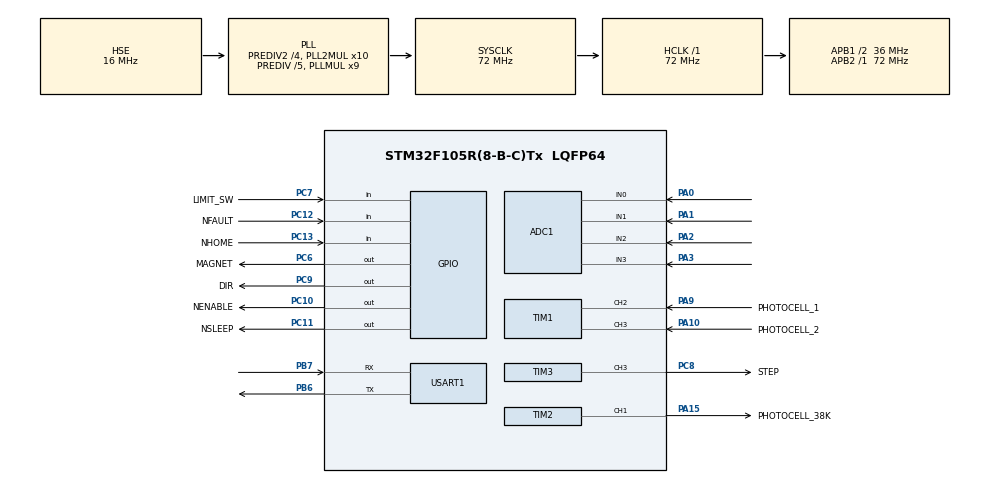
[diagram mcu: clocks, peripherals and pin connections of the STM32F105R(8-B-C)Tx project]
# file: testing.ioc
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ADC1.Channel-0\#ChannelRegularConversion=ADC_CHANNEL_0
ADC1.NbrOfConversionFlag=1
ADC1.Rank-0\#ChannelRegularConversion=1
ADC1.SamplingTime-0\#ChannelRegularConversion=ADC_SAMPLETIME_1CYCLE_5
ADC1.master=1
Mcu.Family=STM32F1
Mcu.Name=STM32F105R(8-B-C)Tx
Mcu.Package=LQFP64
NVIC.PriorityGroup=NVIC_PRIORITYGROUP_4
NVIC.USART1_IRQn=true\:0\:0\:false\:false\:true\:true\:true\:true
PA0-WKUP.Signal=ADCx_IN0
PA1.Signal=ADCx_IN1
PA10.GPIO_Label=PHOTOCELL_2
PA10.Signal=S_TIM1_CH3
PA13.Mode=Serial_Wire
PA13.Signal=SYS_JTMS-SWDIO
PA14.Mode=Serial_Wire
PA14.Signal=SYS_JTCK-SWCLK
PA15.GPIO_Label=PHOTOCELL_38K
PA15.Signal=S_TIM2_CH1_ETR
PA2.Signal=ADCx_IN2
PA3.Signal=ADCx_IN3
PA9.GPIO_Label=PHOTOCELL_1
PA9.Signal=S_TIM1_CH2
PB6.Mode=Asynchronous
PB6.Signal=USART1_TX
PB7.Mode=Asynchronous
PB7.Signal=USART1_RX
PC10.GPIO_Label=NENABLE
PC10.Signal=GPIO_Output
PC11.GPIO_Label=NSLEEP
PC11.Signal=GPIO_Output
PC12.GPIO_Label=NFAULT
PC12.Signal=GPIO_Input
PC13-TAMPER-RTC.GPIO_Label=NHOME
PC13-TAMPER-RTC.Signal=GPIO_Input
PC6.GPIO_Label=MAGNET
PC6.Signal=GPIO_Output
PC7.GPIO_Label=LIMIT_SW
PC7.Signal=GPIO_Input
PC8.GPIO_Label=STEP
PC8.Signal=S_TIM3_CH3
PC9.GPIO_Label=DIR
PC9.Signal=GPIO_Output
PD0-OSC_IN.Mode=HSE-External-Clock-Source
PD0-OSC_IN.Signal=RCC_OSC_IN
PD1-OSC_OUT.Mode=HSE-External-Clock-Source
PD1-OSC_OUT.Signal=RCC_OSC_OUT
ProjectManager.HeapSize=0x200
ProjectManager.StackSize=0x400
ProjectManager.TargetToolchain=STM32CubeIDE
RCC.ADCPresc=RCC_ADCPCLK2_DIV6
RCC.AHBFreq_Value=72000000
RCC.APB1CLKDivider=RCC_HCLK_DIV2
RCC.APB1Freq_Value=36000000
RCC.APB1TimFreq_Value=72000000
RCC.APB2Freq_Value=72000000
RCC.APB2TimFreq_Value=72000000
RCC.HCLKFreq_Value=72000000
RCC.HSEDivPLL=RCC_HSE_PREDIV_DIV5
RCC.HSE_VALUE=16000000
RCC.PLL2Mul=RCC_PLL2_MUL10
RCC.PLLMUL=RCC_PLL_MUL9
RCC.PLLSourceVirtual=RCC_PLLSOURCE_HSE
RCC.Prediv1Source=RCC_PREDIV1_SOURCE_PLL2
RCC.Prediv2=RCC_HSE_PREDIV2_DIV4
RCC.SYSCLKFreq_VALUE=72000000
RCC.SYSCLKSource=RCC_SYSCLKSOURCE_PLLCLK
RCC.USBFreq_Value=48000000
SH.ADCx_IN0.0=ADC1_IN0,IN0
SH.ADCx_IN1.0=ADC1_IN1,IN1
SH.ADCx_IN2.0=ADC1_IN2,IN2
SH.ADCx_IN3.0=ADC1_IN3,IN3
SH.S_TIM1_CH2.0=TIM1_CH2,Input_Capture2_from_TI2
SH.S_TIM1_CH3.0=TIM1_CH3,Input_Capture3_from_TI3
SH.S_TIM2_CH1_ETR.0=TIM2_CH1,PWM Generation1 CH1
SH.S_TIM3_CH3.0=TIM3_CH3,PWM Generation3 CH3
TIM1.Channel-Input_Capture2_from_TI2=TIM_CHANNEL_2
TIM1.Channel-Input_Capture3_from_TI3=TIM_CHANNEL_3
TIM2.Channel-PWM\ Generation1\ CH1=TIM_CHANNEL_1
TIM3.AutoReloadPreload=TIM_AUTORELOAD_PRELOAD_ENABLE
TIM3.Channel-PWM\ Generation3\ CH3=TIM_CHANNEL_3
TIM3.Period=249
TIM3.Prescaler=3599
TIM3.Pulse-PWM\ Generation3\ CH3=72
USART1.VirtualMode=VM_ASYNC
VP_TIM1_VS_ClockSourceINT.Mode=Internal
VP_TIM2_VS_ClockSourceINT.Mode=Internal
VP_TIM3_VS_ClockSourceINT.Mode=Internal
board=custom

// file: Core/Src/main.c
/* USER CODE BEGIN Header */
/**
  ******************************************************************************
  * @file           : main.c
  * @brief          : Main program body
  ******************************************************************************
  * @attention
  *
  * Copyright (c) 2025 STMicroelectronics.
  * All rights reserved.
  *
  * This software is licensed under terms that can be found in the LICENSE file
  * in the root directory of this software component.
  * If no LICENSE file comes with this software, it is provided AS-IS.
  *
  ******************************************************************************
  */
/* USER CODE END Header */
#include "main.h"

/* USER CODE BEGIN Includes */

#include "stdint.h"
#include <stdbool.h>

/* USER CODE END Includes */

/* USER CODE BEGIN PTD */

typedef enum cmd_t
{
  cmdToRaise = 1,
  cmdToDrop = 2,
  cmdRaised = 3,
  cmdDropped = 4
} cmd_t;

/* USER CODE END PTD */

/* USER CODE BEGIN PD */
#define RX_BUFFER_SIZE 100 // Size of the reception buffer
/* USER CODE END PD */

ADC_HandleTypeDef hadc1;

TIM_HandleTypeDef htim1;
TIM_HandleTypeDef htim2;
TIM_HandleTypeDef htim3;

UART_HandleTypeDef huart1;

void SystemClock_Config(void);
static void MX_GPIO_Init(void);
static void MX_ADC1_Init(void);
static void MX_TIM1_Init(void);
static void MX_TIM2_Init(void);
static void MX_TIM3_Init(void);
static void MX_USART1_UART_Init(void);

/* USER CODE BEGIN 0 */
uint8_t rxBuffer[RX_BUFFER_SIZE]; // Buffer to store received data
uint8_t receivedByte;             // Variable to store a single received byte

//-----------------------------------------------------------------------------//

// Transmit data on UART
bool uartDataTx(uint8_t *data, uint16_t size)
{
  HAL_UART_Transmit(&huart1, data, size, HAL_MAX_DELAY);
  return true;
}

// Receive data on UART
bool uartDataRx(uint8_t *data, uint16_t size)
{
  HAL_UART_Receive(&huart1, data, size, HAL_MAX_DELAY);
  return true;
}

//-----------------------------------------------------------------------------//

uint16_t calcDelay(uint16_t height)
{
  // TODO: Get time amount of stepper with given height, input here for proper calculation of delay
  return height * 2;
}

bool moveStepper(uint32_t direction)
{
  // Set the stepper direction
  HAL_GPIO_WritePin(DIR_GPIO_Port, DIR_Pin, direction);

  // Get time from serial
  uint16_t height;
  uartDataRx(&height, sizeof(height));

  // Calculate the time for the delay during raising platform
  uint16_t delay = calcDelay(height);

  // Turn on the PWM for the stepper (100 Hz)
  HAL_TIM_PWM_Start(&htim3, TIM_CHANNEL_3);

  // Time duration of the PWM (calculated using calcDelay())
  HAL_Delay(&delay);

  // Stop stepper
  HAL_TIM_PWM_Stop(&htim3, TIM_CHANNEL_3);
}

//-----------------------------------------------------------------------------//

void raise_fun()
{
  // Send response after getting request to raise platform
  uartDataTx((uint16_t*)cmdToRaise, sizeof(cmdToRaise));

  // Turn on electromagnet to catch the ball
  HAL_GPIO_WritePin(MAGNET_GPIO_Port, MAGNET_Pin, GPIO_PIN_SET);

  // Move stepper to desired height
  moveStepper(GPIO_PIN_RESET);

  // Send response after raising the platform
  uartDataTx((uint16_t*)cmdRaised, sizeof(cmdRaised));
}

void drop_fun()
{
  // Send response after getting request to drop the ball
  uartDataTx((uint16_t*)cmdToDrop, sizeof(cmdToDrop));

  // Start reading data from ADC DMA
//  uint32_t adcValue[1000];
//  HAL_ADC_Start_DMA(&hadc1, &adcValue, 1000);

  // Start capturing time
  uint32_t startTime = HAL_GetTick();

  // Release the electromagnet to drop the ball
  HAL_GPIO_WritePin(MAGNET_GPIO_Port, MAGNET_Pin, GPIO_PIN_RESET);
  HAL_Delay(2000);

  // Photocell
  // Send time difference from photocell

  // Stop capturing time and send time
  uint32_t endTime = HAL_GetTick();
  uint32_t timeDuration = endTime - startTime;
  uartDataTx((uint16_t*)timeDuration, sizeof(timeDuration));

  // Send the data from ADC
//  uartDataTx((uint16_t*)adcValue, sizeof(adcValue));
  //	HAL_UART_Transmit(&huart1, (uint8_t*)cmdToRaise, sizeof(uint16_t), HAL_MAX_DELAY);
  // Move stepper to initial position
   moveStepper(GPIO_PIN_SET);

  // Send response of the drop end
  uartDataTx((uint16_t*)cmdDropped, sizeof(cmdDropped));
}
// Callback function called when a byte is received
void HAL_UART_RxCpltCallback(UART_HandleTypeDef *huart) {
    if (huart->Instance == USART1) { // Check if the interrupt is from the correct UART instance
        static uint16_t index = 0;

        // Store the received byte in the buffer
        rxBuffer[index++] = receivedByte;

        // Check if the buffer is full or a newline character is received
        if (index >= RX_BUFFER_SIZE || receivedByte == '\n') {
            // Handle the complete message here
            HAL_UART_Transmit(&huart1, rxBuffer, index, HAL_MAX_DELAY); // Echo back the message
            index = 0; // Reset the index for the next message
        }

        // Restart UART reception in interrupt mode
        HAL_UART_Receive_IT(&huart1, &receivedByte, 1);
    }
}
/* USER CODE END 0 */

int main(void)
{

  /* MCU Configuration--------------------------------------------------------*/

  /* Reset of all peripherals, Initializes the Flash interface and the Systick. */
  HAL_Init();

  /* Configure the system clock */
  SystemClock_Config();

  /* Initialize all configured peripherals */
  MX_GPIO_Init();
  MX_ADC1_Init();
  MX_TIM1_Init();
  MX_TIM2_Init();
  MX_TIM3_Init();
  MX_USART1_UART_Init();
  /* USER CODE BEGIN 2 */

//  HAL_GPIO_WritePin(NENABLE_GPIO_Port, NENABLE_Pin, GPIO_PIN_RESET);
//  HAL_GPIO_WritePin(NSLEEP_GPIO_Port, NSLEEP_Pin, GPIO_PIN_SET);
//  HAL_TIM_PWM_Start(&htim3, TIM_CHANNEL_3);
  /* USER CODE END 2 */
//  uint8_t cmd = 1;

  char msg[] = "Hello World!\r\n";
  /* Infinite loop */
  while (1)
  {

    /* USER CODE BEGIN 3 */
//	  HAL_UART_Receive(&huart1, (uint8_t*)msg, sizeof(msg), HAL_MAX_DELAY);
	  uint8_t command[1];
	  HAL_UART_Receive(&huart1, &command, sizeof(uint16_t), HAL_MAX_DELAY);

	  while(1)
	  {
	      HAL_UART_Transmit(&huart1, (uint8_t*)msg, sizeof(msg), HAL_MAX_DELAY);
	      HAL_Delay(500);
	  }

//	// Wait for command from GUI) ) ) )
//    uint8_t cmd[1];
////    uartDataRx(&cmd, sizeof(uint16_t));
//    HAL_UART_Receive(&huart1, &cmd, sizeof(uint16_t), HAL_MAX_DELAY);
//    while(1)
//    {
//    	uartDataTx(&cmd, sizeof(uint16_t));
//    }
//
//    // Command handling
//    switch (cmd)
//    {
//    case cmdToRaise:
//      raise_fun();
//      break;
//
//    case cmdToDrop:
//      drop_fun();
//      break;
//
//    default:
//      break;
//    }
//
//    HAL_Delay(500);
  }
  /* USER CODE END 3 */
}

void SystemClock_Config(void)
{
  RCC_OscInitTypeDef RCC_OscInitStruct = {0};
  RCC_ClkInitTypeDef RCC_ClkInitStruct = {0};
  RCC_PeriphCLKInitTypeDef PeriphClkInit = {0};

  /** Initializes the RCC Oscillators according to the specified parameters
  * in the RCC_OscInitTypeDef structure.
  */
  RCC_OscInitStruct.OscillatorType = RCC_OSCILLATORTYPE_HSE;
  RCC_OscInitStruct.HSEState = RCC_HSE_BYPASS;
  RCC_OscInitStruct.HSEPredivValue = RCC_HSE_PREDIV_DIV5;
  RCC_OscInitStruct.HSIState = RCC_HSI_ON;
  RCC_OscInitStruct.Prediv1Source = RCC_PREDIV1_SOURCE_PLL2;
  RCC_OscInitStruct.PLL.PLLState = RCC_PLL_ON;
  RCC_OscInitStruct.PLL.PLLSource = RCC_PLLSOURCE_HSE;
  RCC_OscInitStruct.PLL.PLLMUL = RCC_PLL_MUL9;
  RCC_OscInitStruct.PLL2.PLL2State = RCC_PLL2_ON;
  RCC_OscInitStruct.PLL2.PLL2MUL = RCC_PLL2_MUL10;
  RCC_OscInitStruct.PLL2.HSEPrediv2Value = RCC_HSE_PREDIV2_DIV4;
  if (HAL_RCC_OscConfig(&RCC_OscInitStruct) != HAL_OK)
  {
    Error_Handler();
  }

  /** Initializes the CPU, AHB and APB buses clocks
  */
  RCC_ClkInitStruct.ClockType = RCC_CLOCKTYPE_HCLK|RCC_CLOCKTYPE_SYSCLK
                              |RCC_CLOCKTYPE_PCLK1|RCC_CLOCKTYPE_PCLK2;
  RCC_ClkInitStruct.SYSCLKSource = RCC_SYSCLKSOURCE_PLLCLK;
  RCC_ClkInitStruct.AHBCLKDivider = RCC_SYSCLK_DIV1;
  RCC_ClkInitStruct.APB1CLKDivider = RCC_HCLK_DIV2;
  RCC_ClkInitStruct.APB2CLKDivider = RCC_HCLK_DIV1;

  if (HAL_RCC_ClockConfig(&RCC_ClkInitStruct, FLASH_LATENCY_2) != HAL_OK)
  {
    Error_Handler();
  }
  PeriphClkInit.PeriphClockSelection = RCC_PERIPHCLK_ADC;
  PeriphClkInit.AdcClockSelection = RCC_ADCPCLK2_DIV6;
  if (HAL_RCCEx_PeriphCLKConfig(&PeriphClkInit) != HAL_OK)
  {
    Error_Handler();
  }

  /** Configure the Systick interrupt time
  */
  __HAL_RCC_PLLI2S_ENABLE();
}

static void MX_ADC1_Init(void)
{

  ADC_ChannelConfTypeDef sConfig = {0};

  /** Common config
  */
  hadc1.Instance = ADC1;
  hadc1.Init.ScanConvMode = ADC_SCAN_DISABLE;
  hadc1.Init.ContinuousConvMode = DISABLE;
  hadc1.Init.DiscontinuousConvMode = DISABLE;
  hadc1.Init.ExternalTrigConv = ADC_SOFTWARE_START;
  hadc1.Init.DataAlign = ADC_DATAALIGN_RIGHT;
  hadc1.Init.NbrOfConversion = 1;
  if (HAL_ADC_Init(&hadc1) != HAL_OK)
  {
    Error_Handler();
  }

  /** Configure Regular Channel
  */
  sConfig.Channel = ADC_CHANNEL_0;
  sConfig.Rank = ADC_REGULAR_RANK_1;
  sConfig.SamplingTime = ADC_SAMPLETIME_1CYCLE_5;
  if (HAL_ADC_ConfigChannel(&hadc1, &sConfig) != HAL_OK)
  {
    Error_Handler();
  }

}

static void MX_TIM1_Init(void)
{

  TIM_ClockConfigTypeDef sClockSourceConfig = {0};
  TIM_MasterConfigTypeDef sMasterConfig = {0};
  TIM_IC_InitTypeDef sConfigIC = {0};

  htim1.Instance = TIM1;
  htim1.Init.Prescaler = 0;
  htim1.Init.CounterMode = TIM_COUNTERMODE_UP;
  htim1.Init.Period = 65535;
  htim1.Init.ClockDivision = TIM_CLOCKDIVISION_DIV1;
  htim1.Init.RepetitionCounter = 0;
  htim1.Init.AutoReloadPreload = TIM_AUTORELOAD_PRELOAD_DISABLE;
  if (HAL_TIM_Base_Init(&htim1) != HAL_OK)
  {
    Error_Handler();
  }
  sClockSourceConfig.ClockSource = TIM_CLOCKSOURCE_INTERNAL;
  if (HAL_TIM_ConfigClockSource(&htim1, &sClockSourceConfig) != HAL_OK)
  {
    Error_Handler();
  }
  if (HAL_TIM_IC_Init(&htim1) != HAL_OK)
  {
    Error_Handler();
  }
  sMasterConfig.MasterOutputTrigger = TIM_TRGO_RESET;
  sMasterConfig.MasterSlaveMode = TIM_MASTERSLAVEMODE_DISABLE;
  if (HAL_TIMEx_MasterConfigSynchronization(&htim1, &sMasterConfig) != HAL_OK)
  {
    Error_Handler();
  }
  sConfigIC.ICPolarity = TIM_INPUTCHANNELPOLARITY_RISING;
  sConfigIC.ICSelection = TIM_ICSELECTION_DIRECTTI;
  sConfigIC.ICPrescaler = TIM_ICPSC_DIV1;
  sConfigIC.ICFilter = 0;
  if (HAL_TIM_IC_ConfigChannel(&htim1, &sConfigIC, TIM_CHANNEL_2) != HAL_OK)
  {
    Error_Handler();
  }
  if (HAL_TIM_IC_ConfigChannel(&htim1, &sConfigIC, TIM_CHANNEL_3) != HAL_OK)
  {
    Error_Handler();
  }

}

static void MX_TIM2_Init(void)
{

  TIM_ClockConfigTypeDef sClockSourceConfig = {0};
  TIM_MasterConfigTypeDef sMasterConfig = {0};
  TIM_OC_InitTypeDef sConfigOC = {0};

  htim2.Instance = TIM2;
  htim2.Init.Prescaler = 0;
  htim2.Init.CounterMode = TIM_COUNTERMODE_UP;
  htim2.Init.Period = 65535;
  htim2.Init.ClockDivision = TIM_CLOCKDIVISION_DIV1;
  htim2.Init.AutoReloadPreload = TIM_AUTORELOAD_PRELOAD_DISABLE;
  if (HAL_TIM_Base_Init(&htim2) != HAL_OK)
  {
    Error_Handler();
  }
  sClockSourceConfig.ClockSource = TIM_CLOCKSOURCE_INTERNAL;
  if (HAL_TIM_ConfigClockSource(&htim2, &sClockSourceConfig) != HAL_OK)
  {
    Error_Handler();
  }
  if (HAL_TIM_PWM_Init(&htim2) != HAL_OK)
  {
    Error_Handler();
  }
  sMasterConfig.MasterOutputTrigger = TIM_TRGO_RESET;
  sMasterConfig.MasterSlaveMode = TIM_MASTERSLAVEMODE_DISABLE;
  if (HAL_TIMEx_MasterConfigSynchronization(&htim2, &sMasterConfig) != HAL_OK)
  {
    Error_Handler();
  }
  sConfigOC.OCMode = TIM_OCMODE_PWM1;
  sConfigOC.Pulse = 0;
  sConfigOC.OCPolarity = TIM_OCPOLARITY_HIGH;
  sConfigOC.OCFastMode = TIM_OCFAST_DISABLE;
  if (HAL_TIM_PWM_ConfigChannel(&htim2, &sConfigOC, TIM_CHANNEL_1) != HAL_OK)
  {
    Error_Handler();
  }
  HAL_TIM_MspPostInit(&htim2);

}

static void MX_TIM3_Init(void)
{

  TIM_ClockConfigTypeDef sClockSourceConfig = {0};
  TIM_MasterConfigTypeDef sMasterConfig = {0};
  TIM_OC_InitTypeDef sConfigOC = {0};

  htim3.Instance = TIM3;
  htim3.Init.Prescaler = 3599;
  htim3.Init.CounterMode = TIM_COUNTERMODE_UP;
  htim3.Init.Period = 249;
  htim3.Init.ClockDivision = TIM_CLOCKDIVISION_DIV1;
  htim3.Init.AutoReloadPreload = TIM_AUTORELOAD_PRELOAD_ENABLE;
  if (HAL_TIM_Base_Init(&htim3) != HAL_OK)
  {
    Error_Handler();
  }
  sClockSourceConfig.ClockSource = TIM_CLOCKSOURCE_INTERNAL;
  if (HAL_TIM_ConfigClockSource(&htim3, &sClockSourceConfig) != HAL_OK)
  {
    Error_Handler();
  }
  if (HAL_TIM_PWM_Init(&htim3) != HAL_OK)
  {
    Error_Handler();
  }
  sMasterConfig.MasterOutputTrigger = TIM_TRGO_RESET;
  sMasterConfig.MasterSlaveMode = TIM_MASTERSLAVEMODE_DISABLE;
  if (HAL_TIMEx_MasterConfigSynchronization(&htim3, &sMasterConfig) != HAL_OK)
  {
    Error_Handler();
  }
  sConfigOC.OCMode = TIM_OCMODE_PWM1;
  sConfigOC.Pulse = 72;
  sConfigOC.OCPolarity = TIM_OCPOLARITY_HIGH;
  sConfigOC.OCFastMode = TIM_OCFAST_DISABLE;
  if (HAL_TIM_PWM_ConfigChannel(&htim3, &sConfigOC, TIM_CHANNEL_3) != HAL_OK)
  {
    Error_Handler();
  }
  HAL_TIM_MspPostInit(&htim3);

}

static void MX_USART1_UART_Init(void)
{

  huart1.Instance = USART1;
  huart1.Init.BaudRate = 115200;
  huart1.Init.WordLength = UART_WORDLENGTH_8B;
  huart1.Init.StopBits = UART_STOPBITS_1;
  huart1.Init.Parity = UART_PARITY_NONE;
  huart1.Init.Mode = UART_MODE_TX_RX;
  huart1.Init.HwFlowCtl = UART_HWCONTROL_NONE;
  huart1.Init.OverSampling = UART_OVERSAMPLING_16;
  if (HAL_UART_Init(&huart1) != HAL_OK)
  {
    Error_Handler();
  }

}

static void MX_GPIO_Init(void)
{
  GPIO_InitTypeDef GPIO_InitStruct = {0};

  /* GPIO Ports Clock Enable */
  __HAL_RCC_GPIOC_CLK_ENABLE();
  __HAL_RCC_GPIOD_CLK_ENABLE();
  __HAL_RCC_GPIOA_CLK_ENABLE();
  __HAL_RCC_GPIOB_CLK_ENABLE();

  /*Configure GPIO pin Output Level */
  HAL_GPIO_WritePin(GPIOC, MAGNET_Pin|DIR_Pin|NENABLE_Pin|NSLEEP_Pin, GPIO_PIN_RESET);

  /*Configure GPIO pins : NHOME_Pin LIMIT_SW_Pin NFAULT_Pin */
  GPIO_InitStruct.Pin = NHOME_Pin|LIMIT_SW_Pin|NFAULT_Pin;
  GPIO_InitStruct.Mode = GPIO_MODE_INPUT;
  GPIO_InitStruct.Pull = GPIO_NOPULL;
  HAL_GPIO_Init(GPIOC, &GPIO_InitStruct);

  /*Configure GPIO pins : MAGNET_Pin DIR_Pin NENABLE_Pin NSLEEP_Pin */
  GPIO_InitStruct.Pin = MAGNET_Pin|DIR_Pin|NENABLE_Pin|NSLEEP_Pin;
  GPIO_InitStruct.Mode = GPIO_MODE_OUTPUT_PP;
  GPIO_InitStruct.Pull = GPIO_NOPULL;
  GPIO_InitStruct.Speed = GPIO_SPEED_FREQ_LOW;
  HAL_GPIO_Init(GPIOC, &GPIO_InitStruct);

}

void Error_Handler(void)
{
  __disable_irq();
  while (1)
  {
  }
}
